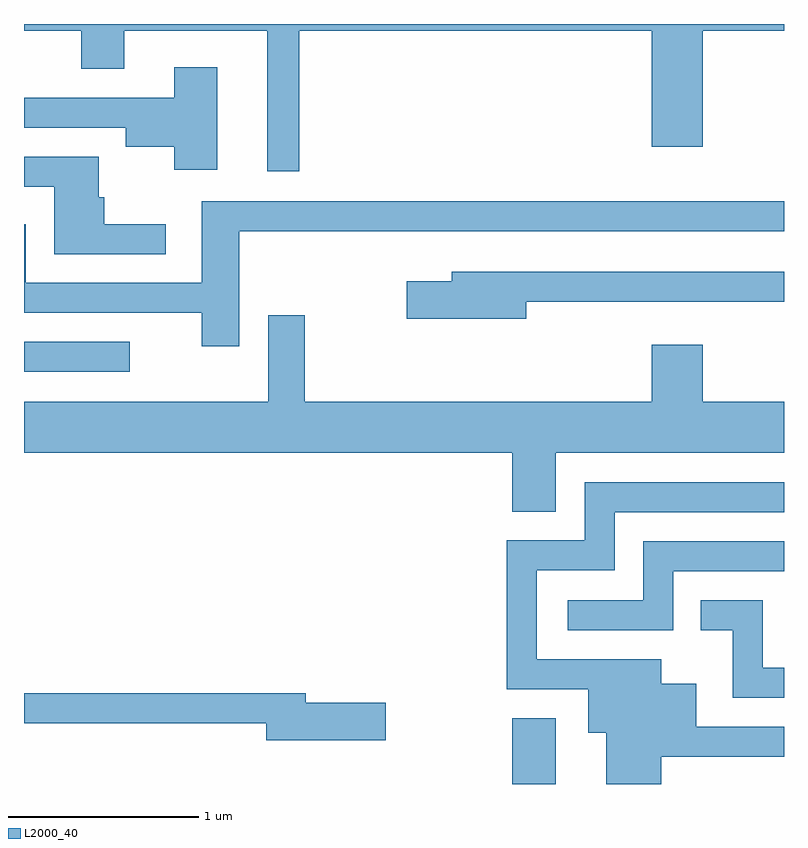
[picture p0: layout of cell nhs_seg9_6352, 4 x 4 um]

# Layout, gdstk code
import gdstk
lib = gdstk.Library(unit=1e-6, precision=1e-09)
def R(c, l, rs):  # rectangles x0, y0, x1, y1
    for r in rs: c.add(gdstk.rectangle(r[:2], r[2:], *l))
def P(c, l, *ps):  # polygons
    for p in ps: c.add(gdstk.Polygon(p, *l))
L2000_40 = (2000, 40)

nhs_seg9_6352 = lib.new_cell('nhs_seg9_6352')
R(nhs_seg9_6352, L2000_40, [(374.181,2074.432,374.409,2074.779), (371.611,2076.601,372.168,2076.759)])
P(nhs_seg9_6352, L2000_40, [(373.059,2078.396),(374.916,2078.396),(374.916,2077.786),(375.184,2077.786),(375.184,2078.396),(375.611,2078.396),(375.611,2078.432),(371.611,2078.432),(371.611,2078.396),(371.911,2078.396),(371.911,2078.196),(372.139,2078.196),(372.139,2078.396),(372.891,2078.396),(372.891,2077.658),(373.059,2077.658)],
  [(372.629,2078.204),(372.401,2078.204),(372.401,2078.044),(371.611,2078.044),(371.611,2077.886),(372.146,2077.886),(372.146,2077.786),(372.401,2077.786),(372.401,2077.666),(372.629,2077.666)],
  [(372.358,2077.379),(372.034,2077.379),(372.034,2077.519),(372.004,2077.519),(372.004,2077.734),(371.611,2077.734),(371.611,2077.576),(371.771,2077.576),(371.771,2077.221),(372.358,2077.221)],
  [(372.744,2077.341),(375.611,2077.341),(375.611,2077.499),(372.546,2077.499),(372.546,2077.069),(371.619,2077.069),(371.619,2077.379),(371.611,2077.379),(371.611,2076.911),(372.546,2076.911),(372.546,2076.736),(372.744,2076.736)],
  [(374.254,2076.971),(375.611,2076.971),(375.611,2077.129),(373.861,2077.129),(373.861,2077.079),(373.626,2077.079),(373.626,2076.881),(374.254,2076.881)],
  [(374.409,2076.176),(375.611,2076.176),(375.611,2076.444),(375.184,2076.444),(375.184,2076.744),(374.916,2076.744),(374.916,2076.444),(373.089,2076.444),(373.089,2076.899),(372.896,2076.899),(372.896,2076.444),(371.611,2076.444),(371.611,2076.176),(374.181,2076.176),(374.181,2075.866),(374.409,2075.866)],
  [(374.964,2074.576),(375.611,2074.576),(375.611,2074.734),(375.149,2074.734),(375.149,2074.959),(374.964,2074.959),(374.964,2075.089),(374.309,2075.089),(374.309,2075.556),(374.719,2075.556),(374.719,2075.861),(375.611,2075.861),(375.611,2076.019),(374.561,2076.019),(374.561,2075.714),(374.151,2075.714),(374.151,2074.931),(374.581,2074.931),(374.581,2074.701),(374.676,2074.701),(374.676,2074.432),(374.964,2074.432)],
  [(375.029,2075.551),(375.611,2075.551),(375.611,2075.709),(374.871,2075.709),(374.871,2075.399),(374.473,2075.399),(374.473,2075.241),(375.029,2075.241)],
  [(375.611,2075.044),(375.499,2075.044),(375.499,2075.399),(375.173,2075.399),(375.173,2075.241),(375.341,2075.241),(375.341,2074.886),(375.611,2074.886)],
  [(373.514,2074.859),(373.094,2074.859),(373.094,2074.909),(371.611,2074.909),(371.611,2074.751),(372.886,2074.751),(372.886,2074.661),(373.514,2074.661)])

lib.write_gds('nhs_seg9_6352.gds')
